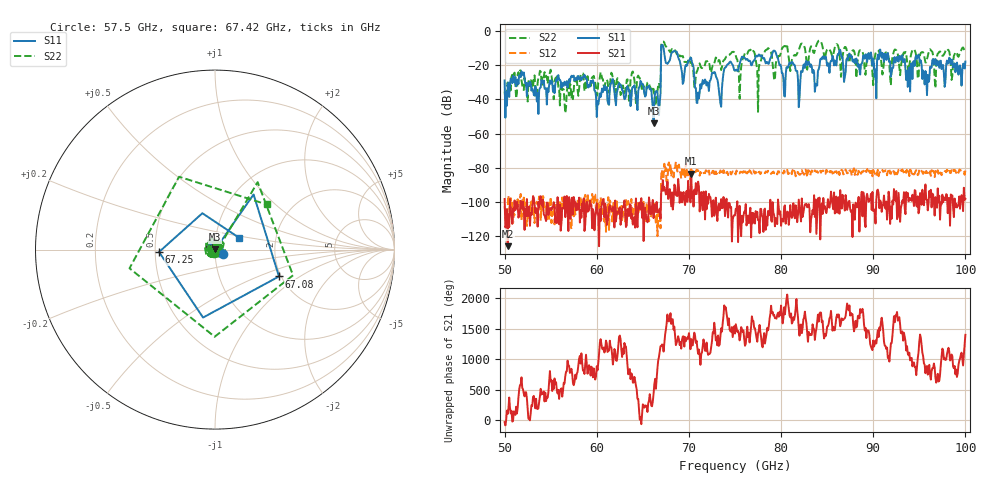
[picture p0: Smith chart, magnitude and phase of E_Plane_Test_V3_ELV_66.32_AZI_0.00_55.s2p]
! 11/26/2026 4:36:31 PM
! C:\ANRITSUVNA\TEMP\TEMP.S2P
! CHANNEL.1
! TR.MEASUREMENT
! RAW.DATA
# HZ S RI R 50.0
! FREQ.HZ  S11RE  S11IM  S21RE  S21IM  S12RE  S12IM  S22RE  S22IM
!; PortSelection: Port_12
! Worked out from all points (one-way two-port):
!   601 points, 50 GHz to 100 GHz, reference 50 ohm
!   highest |S21| = -83.53 dB at 70.25 GHz (marker M1); lowest = -125.9 dB at 50.33 GHz (marker M2)
!   lowest |S11| = -53.9 dB at 66.17 GHz (marker M3), VSWR 1.00, Z = 50.1 + j0.146 ohm
!   |S11| at or under -10 dB: start of sweep to 67 GHz; 67.24 GHz to end of sweep
!   |S22| runs from -48.0 to -5.6 dB; largest |S21 - S12| = 0.00016
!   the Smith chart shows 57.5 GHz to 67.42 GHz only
!   S11 on the Smith chart (normalised r, x): 57.5 GHz: 1.09, -0.05; 67.08 GHz: 1.95, -0.69; 67.25 GHz: 0.52, -0.02; 67.42 GHz: 1.29, +0.18
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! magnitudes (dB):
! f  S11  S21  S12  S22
! 50 GHz  -29.0  -98.3  -102.6  -35.4
! 50.33 GHz  -31.2  -125.9  -104.4  -30.1
! 57.5 GHz  -26.1  -97.1  -108.4  -34.6
! 58.42 GHz  -27.1  -100.9  -99.5  -24.8
! 60.17 GHz  -43.0  -108.5  -103.3  -30.3
! 66.17 GHz  -53.9  -109.4  -102.2  -34.0
! 66.67 GHz  -41.4  -106.1  -109.2  -31.6
! 67.08 GHz  -8.3  -93.5  -81.3  -6.8
! 67.25 GHz  -10.1  -93.4  -85.4  -6.2
! 67.42 GHz  -16.6  -93.2  -81.7  -8.3
! 70.25 GHz  -15.9  -83.5  -80.9  -18.7
! 70.92 GHz  -42.2  -91.8  -81.9  -23.2
! 75 GHz  -23.3  -107.8  -83.2  -13.0
! 77.58 GHz  -13.8  -110.6  -82.7  -21.7
! 78.5 GHz  -18.2  -113.8  -82.8  -10.8
! 79.33 GHz  -11.8  -114.2  -83.3  -28.8
! 80.25 GHz  -27.9  -111.5  -83.3  -9.4
! 83.42 GHz  -24.5  -104.7  -83.0  -10.8
! 91.67 GHz  -16.7  -94.0  -82.5  -15.2
! 94.83 GHz  -15.0  -96.7  -84.3  -27.8
! 95.83 GHz  -37.5  -98.7  -83.1  -16.5
! 100 GHz  -17.9  -98.2  -81.7  -12.5
